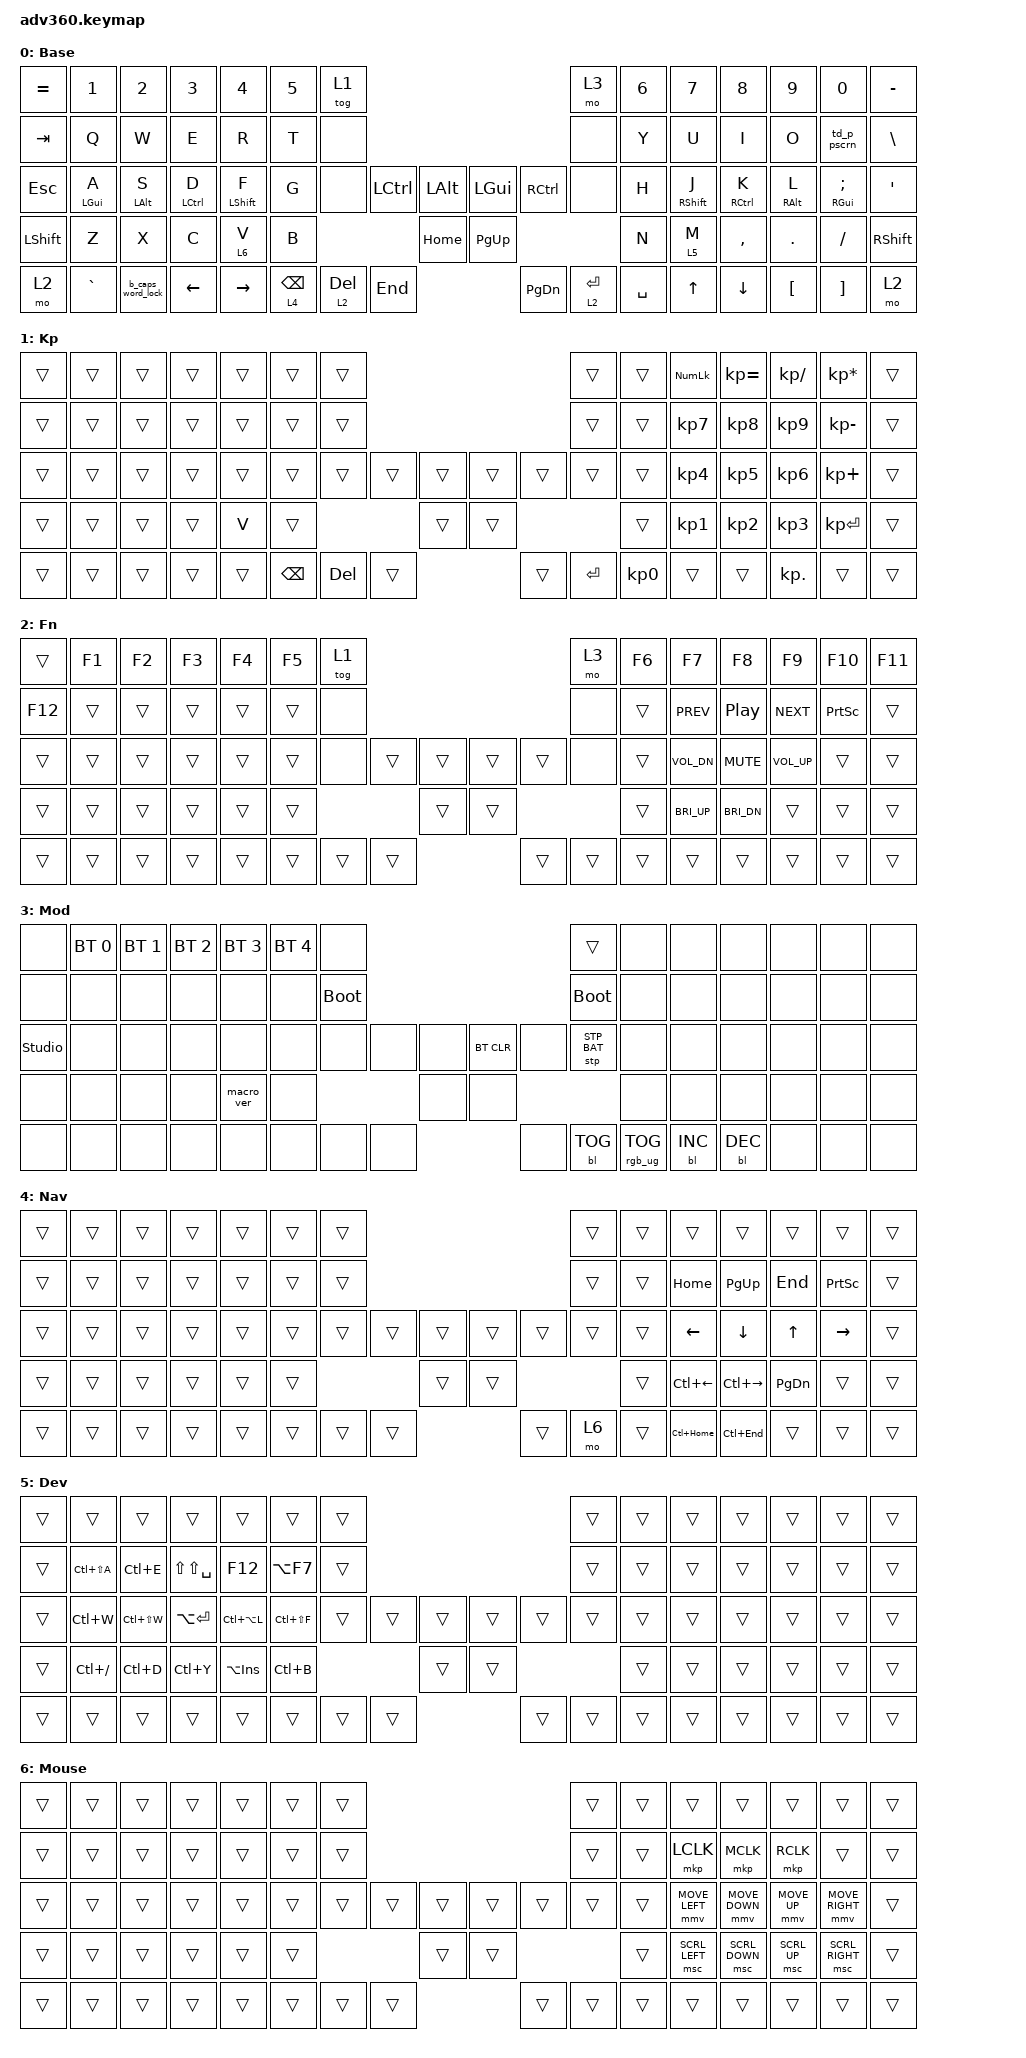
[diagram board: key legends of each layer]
#include <behaviors.dtsi>
#include <dt-bindings/zmk/keys.h>
#include <dt-bindings/zmk/bt.h>
#include <dt-bindings/zmk/rgb.h>
#include <dt-bindings/zmk/stp.h>
#include <dt-bindings/zmk/backlight.h>
#include <dt-bindings/zmk/pointing.h>
#include <dt-bindings/zmk/mouse.h>

// If you have a mod-tap key configured as &mt LCTRL A:
// Quick tap (< 210ms): Types the letter "a"
// Hold (> 210ms): Acts as Left Control
&mt {
    tapping-term-ms = <210>;
    flavor = "tap-preferred";
};

// Improves typing comfort by preventing unintended layer activations during fast,
// repeated keystrokes.
&lt {
    quick_tap_ms = <200>;
};

// Macro for creating tap-dance behaviors
// Usage: TAP_DANCE(name, tap1, tap2)
#define TAP_DANCE(name, tap1, tap2) \
    name: name { \
        compatible = "zmk,behavior-tap-dance"; \
        #binding-cells = <0>; \
        bindings = <tap1>, <tap2>; \
    }

/ {
    behaviors {
      #include "macros.dtsi"
      #include "version.dtsi"

      // Home row mods - GACS (GUI/Alt/Ctrl/Shift) on left, SCAG on right
      hm: homerow_mods {
          compatible = "zmk,behavior-hold-tap";
          #binding-cells = <2>;
          tapping-term-ms = <250>;
          quick-tap-ms = <150>;
          require-prior-idle-ms = <200>;
          flavor = "tap-preferred";
          bindings = <&kp>, <&kp>;
      };

      // Tap-dance behaviors
      TAP_DANCE(b_caps_word_lock, &caps_word, &kp CAPSLOCK);
      TAP_DANCE(td_p_pscrn, &kp P, &kp PSCRN);

      // Smooth mouse acceleration
      mmv {
          compatible = "zmk,behavior-mouse-move";
          #binding-cells = <1>;
          delay-ms = <0>;
          time-to-max-speed-ms = <500>;
          acceleration-exponent = <2>;
      };

      msc {
          compatible = "zmk,behavior-mouse-scroll";
          #binding-cells = <1>;
          delay-ms = <0>;
          time-to-max-speed-ms = <300>;
          acceleration-exponent = <0>;
      };
    };

    keymap {
        compatible = "zmk,keymap";

        // ============================================================================
        // Layer 0: Default with home row mods
        // ============================================================================
        default_layer {
            display-name = "Base";
            bindings = <
        &kp EQUAL  &kp N1      &kp N2            &kp N3       &kp N4        &kp N5  &tog 1                                                                      &mo 3  &kp N6        &kp N7         &kp N8        &kp N9           &kp N0            &kp MINUS
        &kp TAB    &kp Q       &kp W             &kp E        &kp R         &kp T   &none                                                                       &none  &kp Y         &kp U          &kp I         &kp O            &td_p_pscrn       &kp BSLH
        &kp ESC    &hm LGUI A  &hm LALT S        &hm LCTRL D  &hm LSHFT F   &kp G   &none      &kp LCTRL  &kp LALT   &kp LGUI   &kp RCTRL                      &none   &kp H         &hm RSHFT J    &hm RCTRL K   &hm RALT L       &hm RGUI SEMI     &kp SQT
        &kp LSHFT  &kp Z       &kp X             &kp C        &lt 6 V       &kp B                         &kp HOME   &kp PG_UP                                         &kp N         &lt 5 M        &kp COMMA     &kp DOT          &kp FSLH          &kp RSHFT
        &mo 2      &kp GRAVE   &b_caps_word_lock &kp LEFT     &kp RIGHT              &lt 4 BSPC &lt 2 DEL &kp END    &kp PG_DN  &lt 2 ENTER  &kp SPACE                               &kp UP        &kp DOWN       &kp LBKT         &kp RBKT          &mo 2
            >;
        };

        // ============================================================================
        // Layer 1: Keypad - this one is toggled by the Kp button
        // ============================================================================
        keypad {
            display-name = "Kp";
            bindings = <
        &trans  &trans  &trans  &trans  &trans  &trans  &trans                                                            &trans  &trans  &kp KP_NUM   &kp KP_EQUAL  &kp KP_DIVIDE  &kp KP_MULTIPLY  &trans
        &trans  &trans  &trans  &trans  &trans  &trans  &trans                                                            &trans  &trans  &kp KP_N7    &kp KP_N8     &kp KP_N9      &kp KP_MINUS     &trans
        &trans  &trans  &trans  &trans  &trans  &trans  &trans  &trans  &trans  &trans  &trans                            &trans  &trans  &kp KP_N4    &kp KP_N5     &kp KP_N6      &kp KP_PLUS      &trans
        &trans  &trans  &trans  &trans  &kp V   &trans                  &trans  &trans                                            &trans  &kp KP_N1    &kp KP_N2     &kp KP_N3      &kp KP_ENTER     &trans
        &trans  &trans  &trans  &trans &trans           &kp BSPC &kp DEL &trans &trans  &kp ENTER  &kp KP_N0                              &trans       &trans        &kp KP_DOT     &trans           &trans
            >;
        };

        // ============================================================================
        // Layer 2: Fn - Function layer (hold Enter or Del)
        // ============================================================================
        fn {
            display-name = "Fn";
            bindings = <
        &trans  &kp F1       &kp F2       &kp F3        &kp F4        &kp F5   &tog 1                                             &mo 3   &kp F6        &kp F7         &kp F8         &kp F9        &kp F10       &kp F11
        &kp F12 &trans       &trans       &trans        &trans        &trans  &none                                               &none   &trans        &kp C_PREV     &kp C_PP       &kp C_NEXT    &kp PSCRN     &trans
        &trans  &trans       &trans       &trans        &trans        &trans  &none   &trans  &trans  &trans  &trans              &none   &trans        &kp C_VOL_DN   &kp C_MUTE     &kp C_VOL_UP  &trans        &trans
        &trans  &trans       &trans       &trans        &trans        &trans                   &trans  &trans                             &trans        &kp C_BRI_UP   &kp C_BRI_DN   &trans        &trans        &trans
        &trans  &trans       &trans       &trans        &trans                 &trans  &trans  &trans  &trans  &trans  &trans                           &trans        &trans         &trans         &trans        &trans
            >;
        };

        // ============================================================================
        // Layer 3: Mod
        // ============================================================================
        mod {
            display-name = "Mod";
            bindings = <
        &none           &bt BT_SEL 0  &bt BT_SEL 1  &bt BT_SEL 2  &bt BT_SEL 3  &bt BT_SEL 4  &none                                                                    &trans          &none  &none         &none        &none  &none  &none
        &none           &none         &none         &none         &none         &none         &bootloader                                                              &bootloader     &none  &none         &none        &none  &none  &none
        &studio_unlock  &none         &none         &none         &none         &none         &none        &none  &none       &bt BT_CLR  &none                       &stp STP_BAT     &none  &none         &none        &none  &none  &none
        &none           &none         &none         &none         &macro_ver    &none                             &none       &none                                                    &none  &none         &none        &none  &none  &none
        &none           &none         &none         &none         &none                       &none        &none  &none       &none       &bl BL_TOG  &rgb_ug RGB_TOG                         &bl BL_INC    &bl BL_DEC   &none  &none  &none
            >;
        };

        // ============================================================================
        // Layer 4: NAV - Navigation layer (hold Backspace)
        // ============================================================================
        nav_layer {
            display-name = "Nav";
            bindings = <
        &trans  &trans  &trans  &trans  &trans  &trans  &trans                                           &trans  &trans        &trans         &trans         &trans        &trans      &trans
        &trans  &trans  &trans  &trans  &trans  &trans  &trans                                           &trans  &trans        &kp HOME       &kp PG_UP      &kp END       &kp PSCRN   &trans
        &trans  &trans  &trans  &trans  &trans  &trans  &trans  &trans  &trans  &trans  &trans           &trans  &trans        &kp LEFT       &kp DOWN       &kp UP        &kp RIGHT   &trans
        &trans  &trans  &trans  &trans  &trans  &trans                  &trans  &trans                           &trans        &kp LC(LEFT)   &kp LC(RIGHT)  &kp PG_DN     &trans      &trans
        &trans  &trans  &trans  &trans  &trans          &trans  &trans  &trans  &trans  &mo 6   &trans                         &kp LC(HOME)   &kp LC(END)    &trans        &trans      &trans
            >;
        };

        // ============================================================================
        // Layer 5: DEV - IDE shortcuts (hold M key)
        // ============================================================================
        dev_layer {
            display-name = "Dev";
            bindings = <
        &trans  &trans         &trans         &trans             &trans         &trans         &trans                                           &trans  &trans  &trans  &trans  &trans  &trans  &trans
        &trans  &kp LC(LS(A))  &kp LC(E)      &kp LS(LS(SPACE))  &kp F12        &kp LA(F7)     &trans                                           &trans  &trans  &trans  &trans  &trans  &trans  &trans
        &trans  &kp LC(W)      &kp LC(LS(W))  &kp LA(ENTER)      &kp LC(LA(L))  &kp LC(LS(F))  &trans  &trans  &trans  &trans  &trans           &trans  &trans  &trans  &trans  &trans  &trans  &trans
        &trans  &kp LC(FSLH)   &kp LC(D)      &kp LC(Y)          &kp LA(INS)    &kp LC(B)                      &trans  &trans                           &trans  &trans  &trans  &trans  &trans  &trans
        &trans  &trans         &trans         &trans             &trans                        &trans  &trans  &trans  &trans  &trans  &trans                   &trans  &trans  &trans  &trans  &trans
            >;
        };
        
        // ============================================================================
        // Layer 6: MOUSE - Mouse operations (hold V key)
        // ============================================================================
        mouse_layer {
            display-name = "Mouse";
            bindings = <
        &trans  &trans  &trans  &trans  &trans  &trans  &trans                                           &trans  &trans   &trans          &trans          &trans        &trans           &trans
        &trans  &trans  &trans  &trans  &trans  &trans  &trans                                           &trans  &trans   &mkp LCLK       &mkp MCLK       &mkp RCLK     &trans           &trans
        &trans  &trans  &trans  &trans  &trans  &trans  &trans  &trans  &trans  &trans  &trans           &trans  &trans   &mmv MOVE_LEFT  &mmv MOVE_DOWN  &mmv MOVE_UP  &mmv MOVE_RIGHT  &trans
        &trans  &trans  &trans  &trans  &trans  &trans                  &trans  &trans                           &trans   &msc SCRL_LEFT  &msc SCRL_DOWN  &msc SCRL_UP  &msc SCRL_RIGHT  &trans
        &trans  &trans  &trans  &trans  &trans          &trans  &trans  &trans  &trans  &trans  &trans                    &trans          &trans          &trans         &trans          &trans
            >;
        };
    };
};
